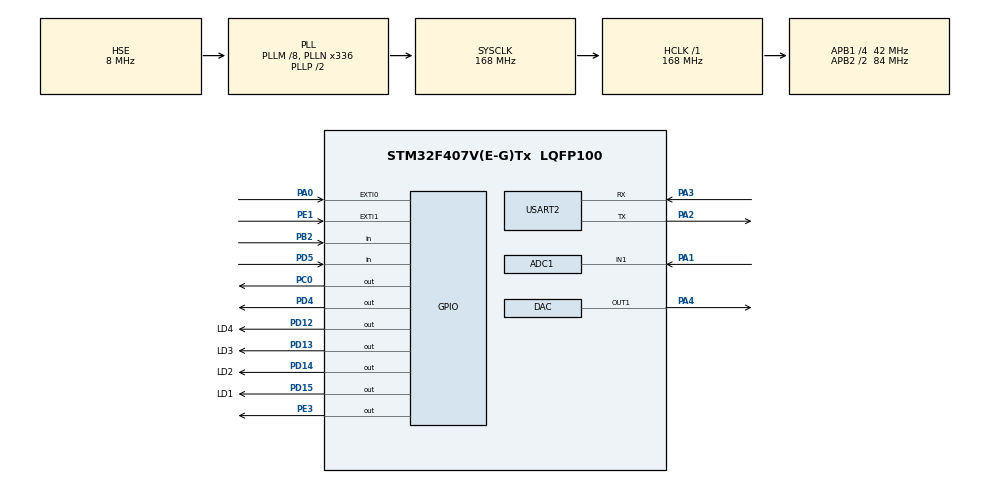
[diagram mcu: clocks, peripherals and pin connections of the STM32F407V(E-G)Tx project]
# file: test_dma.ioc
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ADC1.Channel-0\#ChannelRegularConversion=ADC_CHANNEL_1
ADC1.ContinuousConvMode=DISABLE
ADC1.DMAContinuousRequests=ENABLE
ADC1.EOCSelection=ADC_EOC_SINGLE_CONV
ADC1.ExternalTrigConv=ADC_EXTERNALTRIGCONV_T1_CC1
ADC1.NbrOfConversionFlag=1
ADC1.master=1
DAC.DAC_Trigger=DAC_TRIGGER_T2_TRGO
Dma.ADC1.1.Direction=DMA_PERIPH_TO_MEMORY
Dma.ADC1.1.FIFOMode=DMA_FIFOMODE_DISABLE
Dma.ADC1.1.Instance=DMA2_Stream0
Dma.ADC1.1.MemDataAlignment=DMA_MDATAALIGN_HALFWORD
Dma.ADC1.1.MemInc=DMA_MINC_ENABLE
Dma.ADC1.1.Mode=DMA_CIRCULAR
Dma.ADC1.1.PeriphDataAlignment=DMA_PDATAALIGN_HALFWORD
Dma.ADC1.1.PeriphInc=DMA_PINC_DISABLE
Dma.ADC1.1.Priority=DMA_PRIORITY_LOW
Dma.DAC1.2.Direction=DMA_MEMORY_TO_PERIPH
Dma.DAC1.2.FIFOMode=DMA_FIFOMODE_DISABLE
Dma.DAC1.2.Instance=DMA1_Stream5
Dma.DAC1.2.MemDataAlignment=DMA_MDATAALIGN_WORD
Dma.DAC1.2.MemInc=DMA_MINC_ENABLE
Dma.DAC1.2.Mode=DMA_CIRCULAR
Dma.DAC1.2.PeriphDataAlignment=DMA_PDATAALIGN_WORD
Dma.DAC1.2.PeriphInc=DMA_PINC_DISABLE
Dma.DAC1.2.Priority=DMA_PRIORITY_LOW
Dma.Request0=USART2_TX
Dma.Request1=ADC1
Dma.Request2=DAC1
Dma.USART2_TX.0.Direction=DMA_MEMORY_TO_PERIPH
Dma.USART2_TX.0.FIFOMode=DMA_FIFOMODE_DISABLE
Dma.USART2_TX.0.Instance=DMA1_Stream6
Dma.USART2_TX.0.MemDataAlignment=DMA_MDATAALIGN_BYTE
Dma.USART2_TX.0.MemInc=DMA_MINC_ENABLE
Dma.USART2_TX.0.Mode=DMA_NORMAL
Dma.USART2_TX.0.PeriphDataAlignment=DMA_PDATAALIGN_BYTE
Dma.USART2_TX.0.PeriphInc=DMA_PINC_DISABLE
Dma.USART2_TX.0.Priority=DMA_PRIORITY_LOW
Mcu.Family=STM32F4
Mcu.Name=STM32F407V(E-G)Tx
Mcu.Package=LQFP100
NVIC.DMA1_Stream5_IRQn=true\:0\:0\:false\:false\:true\:false\:true
NVIC.DMA1_Stream6_IRQn=true\:0\:0\:false\:false\:true\:false\:true
NVIC.DMA2_Stream0_IRQn=true\:0\:0\:false\:false\:true\:false\:true
NVIC.PriorityGroup=NVIC_PRIORITYGROUP_0
NVIC.TIM3_IRQn=true\:0\:0\:false\:false\:true\:true\:true
PA0-WKUP.GPIO_ModeDefaultEXTI=GPIO_MODE_IT_RISING
PA0-WKUP.GPIO_PuPd=GPIO_NOPULL
PA0-WKUP.Signal=GPXTI0
PA1.Signal=ADCx_IN1
PA13.Mode=Serial_Wire
PA13.Signal=SYS_JTMS-SWDIO
PA14.Mode=Serial_Wire
PA14.Signal=SYS_JTCK-SWCLK
PA2.Mode=Asynchronous
PA2.Signal=USART2_TX
PA3.Mode=Asynchronous
PA3.Signal=USART2_RX
PA4.Signal=COMP_DAC1_group
PB2.GPIO_Mode=GPIO_MODE_INPUT
PB2.GPIO_PuPd=GPIO_NOPULL
PB2.Signal=GPIO_Input
PC0.GPIO_ModeDefaultOutputPP=GPIO_MODE_OUTPUT_PP
PC0.GPIO_PuPd=GPIO_NOPULL
PC0.GPIO_Speed=GPIO_SPEED_FREQ_LOW
PC0.PinState=GPIO_PIN_RESET
PC0.Signal=GPIO_Output
PC14-OSC32_IN.Mode=LSE-External-Oscillator
PC14-OSC32_IN.Signal=RCC_OSC32_IN
PC15-OSC32_OUT.Mode=LSE-External-Oscillator
PC15-OSC32_OUT.Signal=RCC_OSC32_OUT
PD12.GPIO_Label=LD4
PD12.GPIO_ModeDefaultOutputPP=GPIO_MODE_OUTPUT_PP
PD12.GPIO_PuPd=GPIO_NOPULL
PD12.GPIO_Speed=GPIO_SPEED_FREQ_LOW
PD12.PinState=GPIO_PIN_RESET
PD12.Signal=GPIO_Output
PD13.GPIO_Label=LD3
PD13.GPIO_ModeDefaultOutputPP=GPIO_MODE_OUTPUT_PP
PD13.GPIO_PuPd=GPIO_NOPULL
PD13.GPIO_Speed=GPIO_SPEED_FREQ_LOW
PD13.PinState=GPIO_PIN_RESET
PD13.Signal=GPIO_Output
PD14.GPIO_Label=LD2
PD14.GPIO_ModeDefaultOutputPP=GPIO_MODE_OUTPUT_PP
PD14.GPIO_PuPd=GPIO_NOPULL
PD14.GPIO_Speed=GPIO_SPEED_FREQ_LOW
PD14.PinState=GPIO_PIN_RESET
PD14.Signal=GPIO_Output
PD15.GPIO_Label=LD1
PD15.Signal=GPIO_Output
PD4.GPIO_ModeDefaultOutputPP=GPIO_MODE_OUTPUT_PP
PD4.GPIO_PuPd=GPIO_NOPULL
PD4.GPIO_Speed=GPIO_SPEED_FREQ_LOW
PD4.PinState=GPIO_PIN_RESET
PD4.Signal=GPIO_Output
PD5.GPIO_Mode=GPIO_MODE_INPUT
PD5.GPIO_PuPd=GPIO_NOPULL
PD5.Signal=GPIO_Input
PE1.GPIO_ModeDefaultEXTI=GPIO_MODE_IT_RISING
PE1.GPIO_PuPd=GPIO_NOPULL
PE1.Signal=GPXTI1
PE3.GPIO_ModeDefaultOutputPP=GPIO_MODE_OUTPUT_PP
PE3.GPIO_PuPd=GPIO_NOPULL
PE3.GPIO_Speed=GPIO_SPEED_FREQ_LOW
PE3.PinState=GPIO_PIN_RESET
PE3.Signal=GPIO_Output
PH0-OSC_IN.Mode=HSE-External-Oscillator
PH0-OSC_IN.Signal=RCC_OSC_IN
PH1-OSC_OUT.Mode=HSE-External-Oscillator
PH1-OSC_OUT.Signal=RCC_OSC_OUT
ProjectManager.HeapSize=0x200
ProjectManager.StackSize=0x400
ProjectManager.TargetToolchain=STM32CubeIDE
RCC.48MHZClocksFreq_Value=48000000
RCC.AHBFreq_Value=168000000
RCC.APB1CLKDivider=RCC_HCLK_DIV4
RCC.APB1Freq_Value=42000000
RCC.APB1TimFreq_Value=84000000
RCC.APB2CLKDivider=RCC_HCLK_DIV2
RCC.APB2Freq_Value=84000000
RCC.APB2TimFreq_Value=168000000
RCC.CortexFreq_Value=168000000
RCC.HCLKFreq_Value=168000000
RCC.HSE_VALUE=8000000
RCC.HSI_VALUE=16000000
RCC.PLLM=8
RCC.PLLN=336
RCC.PLLQ=7
RCC.PLLSourceVirtual=RCC_PLLSOURCE_HSE
RCC.SYSCLKFreq_VALUE=168000000
RCC.SYSCLKSource=RCC_SYSCLKSOURCE_PLLCLK
RCC.VCOOutputFreq_Value=336000000
SH.ADCx_IN1.0=ADC1_IN1,IN1
SH.COMP_DAC1_group.0=DAC_OUT1,DAC_OUT1
TIM1.Channel-Output\ Compare1\ No\ Output=TIM_CHANNEL_1
TIM1.OCMode_1=TIM_OCMODE_TOGGLE
TIM1.Period=3695
TIM1.Prescaler=2
TIM2.Period=2183
TIM2.Prescaler=0
TIM2.TIM_MasterOutputTrigger=TIM_TRGO_UPDATE
TIM3.Period=65535
TIM3.Prescaler=256
TIM3.TIM_MasterOutputTrigger=TIM_TRGO_UPDATE
USART2.VirtualMode=VM_ASYNC
VP_TIM1_VS_ClockSourceINT.Mode=Internal
VP_TIM1_VS_no_output1.Mode=Output Compare1 No Output
VP_TIM2_VS_ClockSourceINT.Mode=Internal
VP_TIM3_VS_ClockSourceINT.Mode=Internal
board=STM32F407G-DISC1

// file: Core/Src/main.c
/* USER CODE BEGIN Header */
/**
  ******************************************************************************
  * @file           : main.c
  * @brief          : Main program body
  ******************************************************************************
  * @attention
  *
  * <h2><center>&copy; Copyright (c) 2020 STMicroelectronics.
  * All rights reserved.</center></h2>
  *
  * This software component is licensed by ST under Ultimate Liberty license
  * SLA0044, the "License"; You may not use this file except in compliance with
  * the License. You may obtain a copy of the License at:
  *                             www.st.com/SLA0044
  *
  ******************************************************************************
  */
/* USER CODE END Header */
#include "main.h"

/* USER CODE BEGIN Includes */
#define ARM_MATH_CM4
#include <string.h>
#include "math.h"
#include "arm_math.h"
#include "strings.h"

/* USER CODE END Includes */

/* USER CODE BEGIN PD */
#define ADC_BUF_LEN 4096
#define ADC_FREQ 46875
/* USER CODE END PD */

ADC_HandleTypeDef hadc1;
DMA_HandleTypeDef hdma_adc1;

DAC_HandleTypeDef hdac;
DMA_HandleTypeDef hdma_dac1;

TIM_HandleTypeDef htim1;
TIM_HandleTypeDef htim2;
TIM_HandleTypeDef htim3;

UART_HandleTypeDef huart2;
DMA_HandleTypeDef hdma_usart2_tx;

/* USER CODE BEGIN PV */

// DAC VARS
float value=0.2;
uint32_t var;

// CALLBACK_VARS
uint8_t callback_half_flag=0;
uint8_t callback_full_flag=0;
uint8_t callback_uart_flag=0;

// BUFFERS
uint16_t adc_buf[ADC_BUF_LEN];
float32_t fft_in_buf[ADC_BUF_LEN/2];
float32_t fft_out_buf[ADC_BUF_LEN/2];
int freqs[ADC_BUF_LEN/4];

// FFT HANDLER
arm_rfft_fast_instance_f32 fft_handler;
float32_t maxvalue=0;
uint32_t maxindex=0;

// RANGES PROCESSING
uint8_t resultarray[14];
uint8_t rangesCount=10;
uint8_t resultarray_ready=0;
char outmessage[60];
char msg[] = "M23,41,777X";

/* USER CODE END PV */

void SystemClock_Config(void);
static void MX_GPIO_Init(void);
static void MX_DMA_Init(void);
static void MX_USART2_UART_Init(void);
static void MX_ADC1_Init(void);
static void MX_TIM1_Init(void);
static void MX_DAC_Init(void);
static void MX_TIM2_Init(void);
static void MX_TIM3_Init(void);
/* USER CODE BEGIN PFP */
void DMATransferComplete(DMA_HandleTypeDef *hdma);

// DAC SIN VAWE BLOCK
uint32_t sine_val[100];
#define PI 3.1415926
void calcsin ()
{
	for (int i=0; i<100; i++)
	{
		sine_val[i] = ((sin(i*2*PI/100) + 1)*(4096/2));
	}
}

// FFT PROCESSING
//int getMaxFromRange(uint16_t left, uint16_t right, int *freqs){
//	uint16_t maxIndex=left;
//	for (int i=left; i<right; ++i){
//		if (freqs[maxIndex]<freqs[i]){
//			maxIndex=i;
//		}
//	}
//	return maxIndex;
//}
float complexABS(float real, float compl) {
	return sqrtf(real*real+compl*compl);
}

void doFFT(){
	memset(&fft_out_buf,0,ADC_BUF_LEN/2);
	arm_rfft_fast_f32(&fft_handler, &fft_in_buf, &fft_out_buf, 0);

	memset(&freqs,0,ADC_BUF_LEN/4);
	int freqpoint = 0;
	int offset = 30; //variable noisefloor offset

	// Calculate abs values and linear-to-dB
	for (int i=0; i<ADC_BUF_LEN/2; i=i+2) {
		freqs[freqpoint] = (int)(20*log10f(complexABS(fft_out_buf[i], fft_out_buf[i+1])))-offset;
		if (freqs[freqpoint]<0) freqs[freqpoint]=0;
		freqpoint++;
	}

	// Extract data from middle of each range
	resultarray_ready = 0;
//	uint16_t width = (ADC_BUF_LEN/4)/rangesCount;
//	for (int i=0; i<rangesCount; ++i){
//		resultarray[i] = (uint8_t) freqs[ (uint16_t) width*i + width/2 ];
//	}
	resultarray[0] = (uint8_t)freqs[1]; //31-5Hz
	resultarray[1] = (uint8_t)freqs[3]; //63 Hz
	resultarray[2] = (uint8_t)freqs[5]; //125 Hz
	resultarray[3] = (uint8_t)freqs[11]; //250 Hz
	resultarray[4] = (uint8_t)freqs[22]; //500 Hz
	resultarray[5] = (uint8_t)freqs[44]; //1 kHz
	resultarray[6] = (uint8_t)freqs[104]; //2.8 kHz
	resultarray[7] = (uint8_t)freqs[197]; //4.5 kHz
	resultarray[8] = (uint8_t)freqs[393]; //9 kHz
	resultarray[9] = (uint8_t)freqs[655]; //15 lHz
	resultarray_ready = 1;
}
/* USER CODE END PFP */

int main(void)
{

  /* MCU Configuration--------------------------------------------------------*/

  /* Reset of all peripherals, Initializes the Flash interface and the Systick. */
  HAL_Init();

  /* Configure the system clock */
  SystemClock_Config();

  /* Initialize all configured peripherals */
  MX_GPIO_Init();
  MX_DMA_Init();
  MX_USART2_UART_Init();
  MX_ADC1_Init();
  MX_TIM1_Init();
  MX_DAC_Init();
  MX_TIM2_Init();
  MX_TIM3_Init();
  /* USER CODE BEGIN 2 */

  // ADC CYCLE
  HAL_TIM_OC_Start(&htim1, TIM_CHANNEL_1);
  HAL_ADC_Start_DMA(&hadc1, (uint32_t*)adc_buf, ADC_BUF_LEN);

  // DAC SIN VAWE CYCLE
  HAL_TIM_Base_Start(&htim2);
  calcsin();
  HAL_DAC_Start_DMA(&hdac, DAC1_CHANNEL_1, sine_val, 100, DAC_ALIGN_12B_R);

  // FFT INIT
  arm_rfft_fast_init_f32(&fft_handler, ADC_BUF_LEN/2);

  // UART TRANSMISSION CYCLE
  HAL_TIM_Base_Start_IT(&htim3);
  HAL_DMA_RegisterCallback(&hdma_usart2_tx, HAL_DMA_XFER_CPLT_CB_ID, &DMATransferComplete);
  /* USER CODE END 2 */

  /* Infinite loop */
  /* USER CODE BEGIN WHILE */
  while (1)
  {
	  if (callback_half_flag  == 1) {
		  for (int i=0; i<ADC_BUF_LEN/2; i++) {
			  fft_in_buf[i] = adc_buf[i];
			  // to use math sin instead
//			  fft_in_buf[i] = 1000.0f*arm_sin_f32(2*3.1415926f*50*i/1000)+1000;
		  }
		  doFFT();
		  HAL_GPIO_WritePin(GPIOD, LD2_Pin, GPIO_PIN_SET); // debug
		  callback_half_flag = 0;
	  }
	  if (callback_full_flag  == 1) {
		  for (int i=ADC_BUF_LEN/2; i<ADC_BUF_LEN; i++) {
			  fft_in_buf[i-ADC_BUF_LEN/2] = adc_buf[i];
		  }
		  doFFT();
		  HAL_GPIO_WritePin(GPIOD, LD2_Pin, GPIO_PIN_RESET); // debug
		  callback_full_flag = 0;
	  }
	  if (callback_uart_flag == 1){
		  if (resultarray_ready && (huart2.gState == HAL_UART_STATE_READY)){ // if array still in progress skip this cycle
			  // PREPARE TEXT FOR UART
			  memset(outmessage,0,60); //clear out buffer
			  outmessage[0]='M';
			  for (int i=0; i<rangesCount; i++){
				  char str[10];
				  snprintf(str, sizeof(str), "%d", resultarray[i]*20);
				  strcat(outmessage, str);
				  if (i<rangesCount-1)
					  strcat(outmessage, ",");
				  else
					  strcat(outmessage, "X");
			  }
		  }
		  int var = strlen(outmessage);
		  if (var==0) // не отправлять пустой массив, иначе dma зависнет
			  continue;
		  huart2.Instance->CR3 |= USART_CR3_DMAT;
		  // msg отправляется нормально, а вот outmessage порченный почему-то, хотя формируется правильно
		  // эту проблему так и не решил
		  var = HAL_DMA_Start_IT(&hdma_usart2_tx, (uint32_t)outmessage, (uint32_t)&huart2.Instance->DR, var);

		  callback_uart_flag = 0;
	  }

    /* USER CODE END WHILE */

  }
}

void SystemClock_Config(void)
{
  RCC_OscInitTypeDef RCC_OscInitStruct = {0};
  RCC_ClkInitTypeDef RCC_ClkInitStruct = {0};

  /** Configure the main internal regulator output voltage
  */
  __HAL_RCC_PWR_CLK_ENABLE();
  __HAL_PWR_VOLTAGESCALING_CONFIG(PWR_REGULATOR_VOLTAGE_SCALE1);
  /** Initializes the RCC Oscillators according to the specified parameters
  * in the RCC_OscInitTypeDef structure.
  */
  RCC_OscInitStruct.OscillatorType = RCC_OSCILLATORTYPE_HSE;
  RCC_OscInitStruct.HSEState = RCC_HSE_ON;
  RCC_OscInitStruct.PLL.PLLState = RCC_PLL_ON;
  RCC_OscInitStruct.PLL.PLLSource = RCC_PLLSOURCE_HSE;
  RCC_OscInitStruct.PLL.PLLM = 8;
  RCC_OscInitStruct.PLL.PLLN = 336;
  RCC_OscInitStruct.PLL.PLLP = RCC_PLLP_DIV2;
  RCC_OscInitStruct.PLL.PLLQ = 7;
  if (HAL_RCC_OscConfig(&RCC_OscInitStruct) != HAL_OK)
  {
    Error_Handler();
  }
  /** Initializes the CPU, AHB and APB buses clocks
  */
  RCC_ClkInitStruct.ClockType = RCC_CLOCKTYPE_HCLK|RCC_CLOCKTYPE_SYSCLK
                              |RCC_CLOCKTYPE_PCLK1|RCC_CLOCKTYPE_PCLK2;
  RCC_ClkInitStruct.SYSCLKSource = RCC_SYSCLKSOURCE_PLLCLK;
  RCC_ClkInitStruct.AHBCLKDivider = RCC_SYSCLK_DIV1;
  RCC_ClkInitStruct.APB1CLKDivider = RCC_HCLK_DIV4;
  RCC_ClkInitStruct.APB2CLKDivider = RCC_HCLK_DIV2;

  if (HAL_RCC_ClockConfig(&RCC_ClkInitStruct, FLASH_LATENCY_5) != HAL_OK)
  {
    Error_Handler();
  }
}

static void MX_ADC1_Init(void)
{

  ADC_ChannelConfTypeDef sConfig = {0};

  /** Configure the global features of the ADC (Clock, Resolution, Data Alignment and number of conversion)
  */
  hadc1.Instance = ADC1;
  hadc1.Init.ClockPrescaler = ADC_CLOCK_SYNC_PCLK_DIV4;
  hadc1.Init.Resolution = ADC_RESOLUTION_12B;
  hadc1.Init.ScanConvMode = DISABLE;
  hadc1.Init.ContinuousConvMode = DISABLE;
  hadc1.Init.DiscontinuousConvMode = DISABLE;
  hadc1.Init.ExternalTrigConvEdge = ADC_EXTERNALTRIGCONVEDGE_RISING;
  hadc1.Init.ExternalTrigConv = ADC_EXTERNALTRIGCONV_T1_CC1;
  hadc1.Init.DataAlign = ADC_DATAALIGN_RIGHT;
  hadc1.Init.NbrOfConversion = 1;
  hadc1.Init.DMAContinuousRequests = ENABLE;
  hadc1.Init.EOCSelection = ADC_EOC_SINGLE_CONV;
  if (HAL_ADC_Init(&hadc1) != HAL_OK)
  {
    Error_Handler();
  }
  /** Configure for the selected ADC regular channel its corresponding rank in the sequencer and its sample time.
  */
  sConfig.Channel = ADC_CHANNEL_1;
  sConfig.Rank = 1;
  sConfig.SamplingTime = ADC_SAMPLETIME_3CYCLES;
  if (HAL_ADC_ConfigChannel(&hadc1, &sConfig) != HAL_OK)
  {
    Error_Handler();
  }

}

static void MX_DAC_Init(void)
{

  DAC_ChannelConfTypeDef sConfig = {0};

  /** DAC Initialization
  */
  hdac.Instance = DAC;
  if (HAL_DAC_Init(&hdac) != HAL_OK)
  {
    Error_Handler();
  }
  /** DAC channel OUT1 config
  */
  sConfig.DAC_Trigger = DAC_TRIGGER_T2_TRGO;
  sConfig.DAC_OutputBuffer = DAC_OUTPUTBUFFER_ENABLE;
  if (HAL_DAC_ConfigChannel(&hdac, &sConfig, DAC_CHANNEL_1) != HAL_OK)
  {
    Error_Handler();
  }

}

static void MX_TIM1_Init(void)
{

  TIM_ClockConfigTypeDef sClockSourceConfig = {0};
  TIM_MasterConfigTypeDef sMasterConfig = {0};
  TIM_OC_InitTypeDef sConfigOC = {0};
  TIM_BreakDeadTimeConfigTypeDef sBreakDeadTimeConfig = {0};

  htim1.Instance = TIM1;
  htim1.Init.Prescaler = 2;
  htim1.Init.CounterMode = TIM_COUNTERMODE_UP;
  htim1.Init.Period = 3695;
  htim1.Init.ClockDivision = TIM_CLOCKDIVISION_DIV1;
  htim1.Init.RepetitionCounter = 0;
  htim1.Init.AutoReloadPreload = TIM_AUTORELOAD_PRELOAD_DISABLE;
  if (HAL_TIM_Base_Init(&htim1) != HAL_OK)
  {
    Error_Handler();
  }
  sClockSourceConfig.ClockSource = TIM_CLOCKSOURCE_INTERNAL;
  if (HAL_TIM_ConfigClockSource(&htim1, &sClockSourceConfig) != HAL_OK)
  {
    Error_Handler();
  }
  if (HAL_TIM_OC_Init(&htim1) != HAL_OK)
  {
    Error_Handler();
  }
  sMasterConfig.MasterOutputTrigger = TIM_TRGO_RESET;
  sMasterConfig.MasterSlaveMode = TIM_MASTERSLAVEMODE_DISABLE;
  if (HAL_TIMEx_MasterConfigSynchronization(&htim1, &sMasterConfig) != HAL_OK)
  {
    Error_Handler();
  }
  sConfigOC.OCMode = TIM_OCMODE_TOGGLE;
  sConfigOC.Pulse = 0;
  sConfigOC.OCPolarity = TIM_OCPOLARITY_HIGH;
  sConfigOC.OCNPolarity = TIM_OCNPOLARITY_HIGH;
  sConfigOC.OCFastMode = TIM_OCFAST_DISABLE;
  sConfigOC.OCIdleState = TIM_OCIDLESTATE_RESET;
  sConfigOC.OCNIdleState = TIM_OCNIDLESTATE_RESET;
  if (HAL_TIM_OC_ConfigChannel(&htim1, &sConfigOC, TIM_CHANNEL_1) != HAL_OK)
  {
    Error_Handler();
  }
  sBreakDeadTimeConfig.OffStateRunMode = TIM_OSSR_DISABLE;
  sBreakDeadTimeConfig.OffStateIDLEMode = TIM_OSSI_DISABLE;
  sBreakDeadTimeConfig.LockLevel = TIM_LOCKLEVEL_OFF;
  sBreakDeadTimeConfig.DeadTime = 0;
  sBreakDeadTimeConfig.BreakState = TIM_BREAK_DISABLE;
  sBreakDeadTimeConfig.BreakPolarity = TIM_BREAKPOLARITY_HIGH;
  sBreakDeadTimeConfig.AutomaticOutput = TIM_AUTOMATICOUTPUT_DISABLE;
  if (HAL_TIMEx_ConfigBreakDeadTime(&htim1, &sBreakDeadTimeConfig) != HAL_OK)
  {
    Error_Handler();
  }

}

static void MX_TIM2_Init(void)
{

  TIM_ClockConfigTypeDef sClockSourceConfig = {0};
  TIM_MasterConfigTypeDef sMasterConfig = {0};

  htim2.Instance = TIM2;
  htim2.Init.Prescaler = 0;
  htim2.Init.CounterMode = TIM_COUNTERMODE_UP;
  htim2.Init.Period = 2183;
  htim2.Init.ClockDivision = TIM_CLOCKDIVISION_DIV1;
  htim2.Init.AutoReloadPreload = TIM_AUTORELOAD_PRELOAD_DISABLE;
  if (HAL_TIM_Base_Init(&htim2) != HAL_OK)
  {
    Error_Handler();
  }
  sClockSourceConfig.ClockSource = TIM_CLOCKSOURCE_INTERNAL;
  if (HAL_TIM_ConfigClockSource(&htim2, &sClockSourceConfig) != HAL_OK)
  {
    Error_Handler();
  }
  sMasterConfig.MasterOutputTrigger = TIM_TRGO_UPDATE;
  sMasterConfig.MasterSlaveMode = TIM_MASTERSLAVEMODE_DISABLE;
  if (HAL_TIMEx_MasterConfigSynchronization(&htim2, &sMasterConfig) != HAL_OK)
  {
    Error_Handler();
  }

}

static void MX_TIM3_Init(void)
{

  TIM_ClockConfigTypeDef sClockSourceConfig = {0};
  TIM_MasterConfigTypeDef sMasterConfig = {0};

  htim3.Instance = TIM3;
  htim3.Init.Prescaler = 256;
  htim3.Init.CounterMode = TIM_COUNTERMODE_UP;
  htim3.Init.Period = 65535;
  htim3.Init.ClockDivision = TIM_CLOCKDIVISION_DIV1;
  htim3.Init.AutoReloadPreload = TIM_AUTORELOAD_PRELOAD_DISABLE;
  if (HAL_TIM_Base_Init(&htim3) != HAL_OK)
  {
    Error_Handler();
  }
  sClockSourceConfig.ClockSource = TIM_CLOCKSOURCE_INTERNAL;
  if (HAL_TIM_ConfigClockSource(&htim3, &sClockSourceConfig) != HAL_OK)
  {
    Error_Handler();
  }
  sMasterConfig.MasterOutputTrigger = TIM_TRGO_UPDATE;
  sMasterConfig.MasterSlaveMode = TIM_MASTERSLAVEMODE_DISABLE;
  if (HAL_TIMEx_MasterConfigSynchronization(&htim3, &sMasterConfig) != HAL_OK)
  {
    Error_Handler();
  }

}

static void MX_USART2_UART_Init(void)
{

  huart2.Instance = USART2;
  huart2.Init.BaudRate = 115200;
  huart2.Init.WordLength = UART_WORDLENGTH_8B;
  huart2.Init.StopBits = UART_STOPBITS_1;
  huart2.Init.Parity = UART_PARITY_NONE;
  huart2.Init.Mode = UART_MODE_TX_RX;
  huart2.Init.HwFlowCtl = UART_HWCONTROL_NONE;
  huart2.Init.OverSampling = UART_OVERSAMPLING_16;
  if (HAL_UART_Init(&huart2) != HAL_OK)
  {
    Error_Handler();
  }

}

static void MX_DMA_Init(void)
{

  /* DMA controller clock enable */
  __HAL_RCC_DMA1_CLK_ENABLE();
  __HAL_RCC_DMA2_CLK_ENABLE();

  /* DMA interrupt init */
  /* DMA1_Stream5_IRQn interrupt configuration */
  HAL_NVIC_SetPriority(DMA1_Stream5_IRQn, 0, 0);
  HAL_NVIC_EnableIRQ(DMA1_Stream5_IRQn);
  /* DMA1_Stream6_IRQn interrupt configuration */
  HAL_NVIC_SetPriority(DMA1_Stream6_IRQn, 0, 0);
  HAL_NVIC_EnableIRQ(DMA1_Stream6_IRQn);
  /* DMA2_Stream0_IRQn interrupt configuration */
  HAL_NVIC_SetPriority(DMA2_Stream0_IRQn, 0, 0);
  HAL_NVIC_EnableIRQ(DMA2_Stream0_IRQn);

}

static void MX_GPIO_Init(void)
{
  GPIO_InitTypeDef GPIO_InitStruct = {0};

  /* GPIO Ports Clock Enable */
  __HAL_RCC_GPIOE_CLK_ENABLE();
  __HAL_RCC_GPIOC_CLK_ENABLE();
  __HAL_RCC_GPIOH_CLK_ENABLE();
  __HAL_RCC_GPIOA_CLK_ENABLE();
  __HAL_RCC_GPIOB_CLK_ENABLE();
  __HAL_RCC_GPIOD_CLK_ENABLE();

  /*Configure GPIO pin Output Level */
  HAL_GPIO_WritePin(GPIOE, GPIO_PIN_3, GPIO_PIN_RESET);

  /*Configure GPIO pin Output Level */
  HAL_GPIO_WritePin(GPIOC, GPIO_PIN_0, GPIO_PIN_RESET);

  /*Configure GPIO pin Output Level */
  HAL_GPIO_WritePin(GPIOD, LD4_Pin|LD3_Pin|LD2_Pin|LD1_Pin
                          |GPIO_PIN_4, GPIO_PIN_RESET);

  /*Configure GPIO pin : PE3 */
  GPIO_InitStruct.Pin = GPIO_PIN_3;
  GPIO_InitStruct.Mode = GPIO_MODE_OUTPUT_PP;
  GPIO_InitStruct.Pull = GPIO_NOPULL;
  GPIO_InitStruct.Speed = GPIO_SPEED_FREQ_LOW;
  HAL_GPIO_Init(GPIOE, &GPIO_InitStruct);

  /*Configure GPIO pin : PC0 */
  GPIO_InitStruct.Pin = GPIO_PIN_0;
  GPIO_InitStruct.Mode = GPIO_MODE_OUTPUT_PP;
  GPIO_InitStruct.Pull = GPIO_NOPULL;
  GPIO_InitStruct.Speed = GPIO_SPEED_FREQ_LOW;
  HAL_GPIO_Init(GPIOC, &GPIO_InitStruct);

  /*Configure GPIO pin : PA0 */
  GPIO_InitStruct.Pin = GPIO_PIN_0;
  GPIO_InitStruct.Mode = GPIO_MODE_IT_RISING;
  GPIO_InitStruct.Pull = GPIO_NOPULL;
  HAL_GPIO_Init(GPIOA, &GPIO_InitStruct);

  /*Configure GPIO pin : PB2 */
  GPIO_InitStruct.Pin = GPIO_PIN_2;
  GPIO_InitStruct.Mode = GPIO_MODE_INPUT;
  GPIO_InitStruct.Pull = GPIO_NOPULL;
  HAL_GPIO_Init(GPIOB, &GPIO_InitStruct);

  /*Configure GPIO pins : LD4_Pin LD3_Pin LD2_Pin LD1_Pin
                           PD4 */
  GPIO_InitStruct.Pin = LD4_Pin|LD3_Pin|LD2_Pin|LD1_Pin
                          |GPIO_PIN_4;
  GPIO_InitStruct.Mode = GPIO_MODE_OUTPUT_PP;
  GPIO_InitStruct.Pull = GPIO_NOPULL;
  GPIO_InitStruct.Speed = GPIO_SPEED_FREQ_LOW;
  HAL_GPIO_Init(GPIOD, &GPIO_InitStruct);

  /*Configure GPIO pin : PD5 */
  GPIO_InitStruct.Pin = GPIO_PIN_5;
  GPIO_InitStruct.Mode = GPIO_MODE_INPUT;
  GPIO_InitStruct.Pull = GPIO_NOPULL;
  HAL_GPIO_Init(GPIOD, &GPIO_InitStruct);

  /*Configure GPIO pin : PE1 */
  GPIO_InitStruct.Pin = GPIO_PIN_1;
  GPIO_InitStruct.Mode = GPIO_MODE_IT_RISING;
  GPIO_InitStruct.Pull = GPIO_NOPULL;
  HAL_GPIO_Init(GPIOE, &GPIO_InitStruct);

}

/* USER CODE BEGIN 4 */

// ADC CALLBACK INT
void HAL_ADC_ConvHalfCpltCallback(ADC_HandleTypeDef *hadc){
	callback_half_flag = 1;
	callback_full_flag = 0;
}
void HAL_ADC_ConvCpltCallback(ADC_HandleTypeDef *hadc){
	callback_full_flag = 1;
	callback_half_flag = 0;
}

// UART SEND INT
void HAL_TIM_PeriodElapsedCallback(TIM_HandleTypeDef* htim)
{
	if (htim==&htim3){ // check that interrupt is from tim3
		callback_uart_flag = 1;
	}
}

void DMATransferComplete(DMA_HandleTypeDef *hdma){
	huart2.Instance->CR3 &= ~USART_CR3_DMAT;
	HAL_GPIO_TogglePin(GPIOD, LD3_Pin); // debug
}

/* USER CODE END 4 */

void Error_Handler(void)
{
}

/************************ (C) COPYRIGHT STMicroelectronics *****END OF FILE****/
